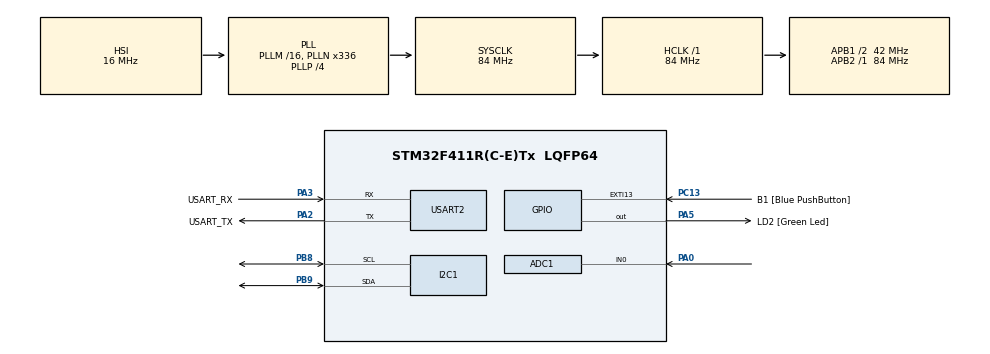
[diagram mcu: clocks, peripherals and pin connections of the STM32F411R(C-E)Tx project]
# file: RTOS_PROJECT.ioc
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ADC1.Channel-0\#ChannelRegularConversion=ADC_CHANNEL_0
ADC1.DMAContinuousRequests=ENABLE
ADC1.ExternalTrigConv=ADC_EXTERNALTRIGCONV_T2_TRGO
ADC1.NbrOfConversionFlag=1
ADC1.Rank-0\#ChannelRegularConversion=1
ADC1.SamplingTime-0\#ChannelRegularConversion=ADC_SAMPLETIME_3CYCLES
ADC1.master=1
Dma.ADC1.0.Direction=DMA_PERIPH_TO_MEMORY
Dma.ADC1.0.FIFOMode=DMA_FIFOMODE_DISABLE
Dma.ADC1.0.Instance=DMA2_Stream0
Dma.ADC1.0.MemDataAlignment=DMA_MDATAALIGN_HALFWORD
Dma.ADC1.0.MemInc=DMA_MINC_ENABLE
Dma.ADC1.0.Mode=DMA_CIRCULAR
Dma.ADC1.0.PeriphDataAlignment=DMA_PDATAALIGN_HALFWORD
Dma.ADC1.0.PeriphInc=DMA_PINC_DISABLE
Dma.ADC1.0.Priority=DMA_PRIORITY_LOW
Dma.Request0=ADC1
FREERTOS.BinarySemaphores01=SemaphoreBmpQueue,Dynamic,NULL,Available
FREERTOS.Mutexes01=MutexPrintf,Dynamic,NULL,Available;MutexI2C,Dynamic,NULL,Available;MutexBmpData,Dynamic,NULL,Available
FREERTOS.Queues01=QueueBmpData,8,BmpData_t,0,Dynamic,NULL,NULL;QueueFftData,8,FftData_t,0,Dynamic,NULL,NULL
FREERTOS.Tasks01=HeartbeatTask,24,128,StartHeartbeatTask,Default,NULL,Dynamic,NULL,NULL;BMP280Task,32,256,StartBMP280Task,Default,NULL,Dynamic,NULL,NULL;OledTask,16,256,StartOledTask,Default,NULL,Dynamic,NULL,NULL;FFTTask,40,128,StartFFTTaskTask,Default,NULL,Dynamic,NULL,NULL
FREERTOS.Timers01=TimerBmpData,TimerBmpDataCallback,osTimerPeriodic,Default,NULL,Dynamic,NULL
FREERTOS.configTOTAL_HEAP_SIZE=32000
I2C1.I2C_Mode=I2C_Fast
Mcu.Family=STM32F4
Mcu.Name=STM32F411R(C-E)Tx
Mcu.Package=LQFP64
NVIC.ADC_IRQn=true\:5\:0\:false\:false\:true\:true\:true\:true\:true
NVIC.DMA2_Stream0_IRQn=true\:5\:0\:false\:false\:true\:true\:false\:true\:true
NVIC.PriorityGroup=NVIC_PRIORITYGROUP_4
NVIC.TIM1_UP_TIM10_IRQn=true\:15\:0\:false\:false\:true\:false\:false\:true\:true
NVIC.TimeBase=TIM1_UP_TIM10_IRQn
NVIC.TimeBaseIP=TIM10
PA0-WKUP.Signal=ADCx_IN0
PA13.GPIO_Label=TMS
PA13.Mode=Serial_Wire
PA13.Signal=SYS_JTMS-SWDIO
PA14.GPIO_Label=TCK
PA14.Mode=Serial_Wire
PA14.Signal=SYS_JTCK-SWCLK
PA2.GPIO_Label=USART_TX
PA2.Mode=Asynchronous
PA2.Signal=USART2_TX
PA3.GPIO_Label=USART_RX
PA3.Mode=Asynchronous
PA3.Signal=USART2_RX
PA5.GPIO_Label=LD2 [Green Led]
PA5.Signal=GPIO_Output
PB3.GPIO_Label=SWO
PB3.Signal=SYS_JTDO-SWO
PB8.Mode=I2C
PB8.Signal=I2C1_SCL
PB9.Mode=I2C
PB9.Signal=I2C1_SDA
PC13-ANTI_TAMP.GPIO_Label=B1 [Blue PushButton]
PC13-ANTI_TAMP.GPIO_ModeDefaultEXTI=GPIO_MODE_IT_FALLING
PC13-ANTI_TAMP.Signal=GPXTI13
PC14-OSC32_IN.Mode=LSE-External-Oscillator
PC14-OSC32_IN.Signal=RCC_OSC32_IN
PC15-OSC32_OUT.Mode=LSE-External-Oscillator
PC15-OSC32_OUT.Signal=RCC_OSC32_OUT
PH0\ -\ OSC_IN.Mode=HSE-External-Clock-Source
PH0\ -\ OSC_IN.Signal=RCC_OSC_IN
PH1\ -\ OSC_OUT.Mode=HSE-External-Clock-Source
PH1\ -\ OSC_OUT.Signal=RCC_OSC_OUT
ProjectManager.HeapSize=0x200
ProjectManager.StackSize=0x400
ProjectManager.TargetToolchain=STM32CubeIDE
RCC.48MHZClocksFreq_Value=84000000
RCC.AHBFreq_Value=84000000
RCC.APB1CLKDivider=RCC_HCLK_DIV2
RCC.APB1Freq_Value=42000000
RCC.APB1TimFreq_Value=84000000
RCC.APB2Freq_Value=84000000
RCC.APB2TimFreq_Value=84000000
RCC.CortexFreq_Value=84000000
RCC.FLatency-AdvancedSettings=FLASH_LATENCY_2
RCC.HCLKFreq_Value=84000000
RCC.HSE_VALUE=8000000
RCC.HSI_VALUE=16000000
RCC.PLLN=336
RCC.PLLP=RCC_PLLP_DIV4
RCC.SYSCLKFreq_VALUE=84000000
RCC.SYSCLKSource=RCC_SYSCLKSOURCE_PLLCLK
RCC.VCOOutputFreq_Value=336000000
SH.ADCx_IN0.0=ADC1_IN0,IN0
TIM2.Period=634
TIM2.Prescaler=2
TIM2.TIM_MasterOutputTrigger=TIM_TRGO_UPDATE
USART2.VirtualMode=VM_ASYNC
VP_FREERTOS_VS_CMSIS_V2.Mode=CMSIS_V2
VP_SYS_VS_tim10.Mode=TIM10
VP_TIM2_VS_ClockSourceINT.Mode=Internal
board=NUCLEO-F411RE

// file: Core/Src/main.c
/* USER CODE BEGIN Header */
/**
  ******************************************************************************
  * @file           : main.c
  * @brief          : Main program body
  ******************************************************************************
  * @attention
  *
  * Copyright (c) 2025 STMicroelectronics.
  * All rights reserved.
  *
  * This software is licensed under terms that can be found in the LICENSE file
  * in the root directory of this software component.
  * If no LICENSE file comes with this software, it is provided AS-IS.
  *
  ******************************************************************************
  */
/* USER CODE END Header */
#include "main.h"
#include "cmsis_os.h"
#include "adc.h"
#include "dma.h"
#include "i2c.h"
#include "tim.h"
#include "usart.h"
#include "gpio.h"

void SystemClock_Config(void);
void MX_FREERTOS_Init(void);

int main(void)
{

  /* MCU Configuration--------------------------------------------------------*/

  /* Reset of all peripherals, Initializes the Flash interface and the Systick. */
  HAL_Init();

  /* Configure the system clock */
  SystemClock_Config();

  /* Initialize all configured peripherals */
  MX_GPIO_Init();
  MX_DMA_Init();
  MX_USART2_UART_Init();
  MX_I2C1_Init();
  MX_ADC1_Init();
  MX_TIM2_Init();

  /* Init scheduler */
  osKernelInitialize();  /* Call init function for freertos objects (in cmsis_os2.c) */
  MX_FREERTOS_Init();

  /* Start scheduler */
  osKernelStart();

  /* We should never get here as control is now taken by the scheduler */

  /* Infinite loop */
  while (1)
  {

  }
}

void SystemClock_Config(void)
{
  RCC_OscInitTypeDef RCC_OscInitStruct = {0};
  RCC_ClkInitTypeDef RCC_ClkInitStruct = {0};

  /** Configure the main internal regulator output voltage
  */
  __HAL_RCC_PWR_CLK_ENABLE();
  __HAL_PWR_VOLTAGESCALING_CONFIG(PWR_REGULATOR_VOLTAGE_SCALE1);

  /** Initializes the RCC Oscillators according to the specified parameters
  * in the RCC_OscInitTypeDef structure.
  */
  RCC_OscInitStruct.OscillatorType = RCC_OSCILLATORTYPE_HSI;
  RCC_OscInitStruct.HSIState = RCC_HSI_ON;
  RCC_OscInitStruct.HSICalibrationValue = RCC_HSICALIBRATION_DEFAULT;
  RCC_OscInitStruct.PLL.PLLState = RCC_PLL_ON;
  RCC_OscInitStruct.PLL.PLLSource = RCC_PLLSOURCE_HSI;
  RCC_OscInitStruct.PLL.PLLM = 16;
  RCC_OscInitStruct.PLL.PLLN = 336;
  RCC_OscInitStruct.PLL.PLLP = RCC_PLLP_DIV4;
  RCC_OscInitStruct.PLL.PLLQ = 4;
  if (HAL_RCC_OscConfig(&RCC_OscInitStruct) != HAL_OK)
  {
    Error_Handler();
  }

  /** Initializes the CPU, AHB and APB buses clocks
  */
  RCC_ClkInitStruct.ClockType = RCC_CLOCKTYPE_HCLK|RCC_CLOCKTYPE_SYSCLK
                              |RCC_CLOCKTYPE_PCLK1|RCC_CLOCKTYPE_PCLK2;
  RCC_ClkInitStruct.SYSCLKSource = RCC_SYSCLKSOURCE_PLLCLK;
  RCC_ClkInitStruct.AHBCLKDivider = RCC_SYSCLK_DIV1;
  RCC_ClkInitStruct.APB1CLKDivider = RCC_HCLK_DIV2;
  RCC_ClkInitStruct.APB2CLKDivider = RCC_HCLK_DIV1;

  if (HAL_RCC_ClockConfig(&RCC_ClkInitStruct, FLASH_LATENCY_2) != HAL_OK)
  {
    Error_Handler();
  }
}

void HAL_TIM_PeriodElapsedCallback(TIM_HandleTypeDef *htim)
{
  if (htim->Instance == TIM10)
  {
    HAL_IncTick();
  }
}

void Error_Handler(void)
{
  __disable_irq();
  while (1)
  {
  }
}

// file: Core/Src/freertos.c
/* USER CODE BEGIN Header */
/**
  ******************************************************************************
  * File Name          : freertos.c
  * Description        : Code for freertos applications
  ******************************************************************************
  * @attention
  *
  * Copyright (c) 2025 STMicroelectronics.
  * All rights reserved.
  *
  * This software is licensed under terms that can be found in the LICENSE file
  * in the root directory of this software component.
  * If no LICENSE file comes with this software, it is provided AS-IS.
  *
  ******************************************************************************
  */
/* USER CODE END Header */

#include "FreeRTOS.h"
#include "task.h"
#include "main.h"
#include "cmsis_os.h"

/* USER CODE BEGIN Includes */
#include "i2c.h"
#include "usart.h"
#include "bmp280.h"
#include "printf.h"
#include "SSD1306_OLED.h"
#include "GFX_BW.h"
#include "fonts/fonts.h"
#include "arm_math.h"
#include "tim.h"
#include "adc.h"
/* USER CODE END Includes */

/* USER CODE BEGIN PD */
#define FFT_SAMPLES 1024
/* USER CODE END PD */

/* USER CODE BEGIN Variables */
typedef struct
{
	float Temperature;
	float Pressure;
}BmpData_t;

typedef struct
{
	uint8_t OutFreqArray[10];
}FftData_t;

/* USER CODE END Variables */
/* Definitions for HeartbeatTask */
osThreadId_t HeartbeatTaskHandle;
const osThreadAttr_t HeartbeatTask_attributes = {
  .name = "HeartbeatTask",
  .stack_size = 128 * 4,
  .priority = (osPriority_t) osPriorityNormal,
};
/* Definitions for BMP280Task */
osThreadId_t BMP280TaskHandle;
const osThreadAttr_t BMP280Task_attributes = {
  .name = "BMP280Task",
  .stack_size = 256 * 4,
  .priority = (osPriority_t) osPriorityAboveNormal,
};
/* Definitions for OledTask */
osThreadId_t OledTaskHandle;
const osThreadAttr_t OledTask_attributes = {
  .name = "OledTask",
  .stack_size = 256 * 4,
  .priority = (osPriority_t) osPriorityBelowNormal,
};
/* Definitions for FFTTask */
osThreadId_t FFTTaskHandle;
const osThreadAttr_t FFTTask_attributes = {
  .name = "FFTTask",
  .stack_size = 128 * 4,
  .priority = (osPriority_t) osPriorityHigh,
};
/* Definitions for QueueBmpData */
osMessageQueueId_t QueueBmpDataHandle;
const osMessageQueueAttr_t QueueBmpData_attributes = {
  .name = "QueueBmpData"
};
/* Definitions for QueueFftData */
osMessageQueueId_t QueueFftDataHandle;
const osMessageQueueAttr_t QueueFftData_attributes = {
  .name = "QueueFftData"
};
/* Definitions for TimerBmpData */
osTimerId_t TimerBmpDataHandle;
const osTimerAttr_t TimerBmpData_attributes = {
  .name = "TimerBmpData"
};
/* Definitions for MutexPrintf */
osMutexId_t MutexPrintfHandle;
const osMutexAttr_t MutexPrintf_attributes = {
  .name = "MutexPrintf"
};
/* Definitions for MutexI2C */
osMutexId_t MutexI2CHandle;
const osMutexAttr_t MutexI2C_attributes = {
  .name = "MutexI2C"
};
/* Definitions for MutexBmpData */
osMutexId_t MutexBmpDataHandle;
const osMutexAttr_t MutexBmpData_attributes = {
  .name = "MutexBmpData"
};
/* Definitions for SemaphoreBmpQueue */
osSemaphoreId_t SemaphoreBmpQueueHandle;
const osSemaphoreAttr_t SemaphoreBmpQueue_attributes = {
  .name = "SemaphoreBmpQueue"
};

/* USER CODE BEGIN FunctionPrototypes */
float complexABS(float real, float imag)
{
	return sqrtf(real*real + imag*imag);
}
/* USER CODE END FunctionPrototypes */

void StartHeartbeatTask(void *argument);
void StartBMP280Task(void *argument);
void StartOledTask(void *argument);
void StartFFTTaskTask(void *argument);
void TimerBmpDataCallback(void *argument);

void MX_FREERTOS_Init(void); /* (MISRA C 2004 rule 8.1) */

void MX_FREERTOS_Init(void) {
  /* Create the mutex(es) */
  /* creation of MutexPrintf */
  MutexPrintfHandle = osMutexNew(&MutexPrintf_attributes);

  /* creation of MutexI2C */
  MutexI2CHandle = osMutexNew(&MutexI2C_attributes);

  /* creation of MutexBmpData */
  MutexBmpDataHandle = osMutexNew(&MutexBmpData_attributes);

  /* Create the semaphores(s) */
  /* creation of SemaphoreBmpQueue */
  SemaphoreBmpQueueHandle = osSemaphoreNew(1, 1, &SemaphoreBmpQueue_attributes);

  /* Create the timer(s) */
  /* creation of TimerBmpData */
  TimerBmpDataHandle = osTimerNew(TimerBmpDataCallback, osTimerPeriodic, NULL, &TimerBmpData_attributes);

  /* Create the queue(s) */
  /* creation of QueueBmpData */
  QueueBmpDataHandle = osMessageQueueNew (8, sizeof(BmpData_t), &QueueBmpData_attributes);

  /* creation of QueueFftData */
  QueueFftDataHandle = osMessageQueueNew (8, sizeof(FftData_t), &QueueFftData_attributes);

  /* Create the thread(s) */
  /* creation of HeartbeatTask */
  HeartbeatTaskHandle = osThreadNew(StartHeartbeatTask, NULL, &HeartbeatTask_attributes);

  /* creation of BMP280Task */
  BMP280TaskHandle = osThreadNew(StartBMP280Task, NULL, &BMP280Task_attributes);

  /* creation of OledTask */
  OledTaskHandle = osThreadNew(StartOledTask, NULL, &OledTask_attributes);

  /* creation of FFTTask */
  FFTTaskHandle = osThreadNew(StartFFTTaskTask, NULL, &FFTTask_attributes);

}

void StartHeartbeatTask(void *argument)
{
  /* USER CODE BEGIN StartHeartbeatTask */
  /* Infinite loop */
  for(;;)
  {
	  HAL_GPIO_TogglePin(LD2_GPIO_Port, LD2_Pin);
	  osDelay(500);
  }
  /* USER CODE END StartHeartbeatTask */
}

void StartBMP280Task(void *argument)
{
  /* USER CODE BEGIN StartBMP280Task */

	BMP280_t Bmp280;
	BmpData_t _BmpData;

	uint32_t DelayTick = osKernelGetTickCount();

	osMutexAcquire(MutexI2CHandle, osWaitForever);
	BMP280_Init(&Bmp280, &hi2c1, BMP280_I2C_ADDR);
	osMutexRelease(MutexI2CHandle);

	osTimerStart(TimerBmpDataHandle, 100);
  /* Infinite loop */
	for(;;)
	{
		osMutexAcquire(MutexI2CHandle, osWaitForever);
		BMP280_ReadTemperatureAndPressure(&Bmp280, &_BmpData.Temperature, &_BmpData.Pressure);
//		_BmpData.Temperature = BMP280_ReadTemperature(&Bmp280);
		osMutexRelease(MutexI2CHandle);

		if(osOK == osSemaphoreAcquire(SemaphoreBmpQueueHandle, 0))
		{
			osMessageQueuePut(QueueBmpDataHandle, &_BmpData, 0, osWaitForever);
		}

		printf("Temperature: %.2f, Pressure %.2f\n\r", _BmpData.Temperature, _BmpData.Pressure);

//		osMutexAcquire(MutexBmpDataHandle, osWaitForever);
//		BmpData.Temperature = _Temperature;
//		BmpData.Pressure = _Pressure;
//		osMutexRelease(MutexBmpDataHandle);

		DelayTick += 10;
		osDelayUntil(DelayTick);

  }
  /* USER CODE END StartBMP280Task */
}

void StartOledTask(void *argument)
{
  /* USER CODE BEGIN StartOledTask */
	uint8_t Message[32];
	uint8_t counter = 0;

	BmpData_t _BmpData;
	FftData_t _FftData;

	osMutexAcquire(MutexI2CHandle, osWaitForever);
	SSD1306_Init(&hi2c1);
	osMutexRelease(MutexI2CHandle);

	GFX_SetFont(font_8x5);

	SSD1306_Clear(BLACK);

	SSD1306_Display();

  /* Infinite loop */
  for(;;)
  {
	  	SSD1306_Clear(BLACK);
		sprintf((char*) Message, "Weather parameter:%d", counter++);
		GFX_DrawString(0, 0, (char*) Message, WHITE, BLACK);

//		osMutexAcquire(MutexBmpDataHandle, osWaitForever);
//		_Temperature = BmpData.Temperature;
//		_Pressure = BmpData.Pressure;
//		osMutexRelease(MutexBmpDataHandle);
		osMessageQueueGet(QueueBmpDataHandle, &_BmpData, 0, 0);
		osMessageQueueGet(QueueFftDataHandle, &_FftData, 0, 0);

		sprintf((char*) Message, "Temp: %.2f", _BmpData.Temperature);
		GFX_DrawString(0, 10, (char*) Message, WHITE, BLACK);

		sprintf((char*) Message, "Pres: %.2f", _BmpData.Pressure);
		GFX_DrawString(0, 20, (char*) Message, WHITE, BLACK);

		for (uint8_t i = 0; i < 10; i++)
		{
			GFX_DrawFillRectangle(10 +(i*11), 64 - _FftData.OutFreqArray[i] , 10, _FftData.OutFreqArray[i], WHITE);
		}

		SSD1306_Display();

		//osDelay(100);
  }
  /* USER CODE END StartOledTask */
}

void StartFFTTaskTask(void *argument)
{
  /* USER CODE BEGIN StartFFTTaskTask */
	arm_rfft_fast_instance_f32 FFTHandler;
	FftData_t FftData;
	int FreqPoint;
	int Offset = 45;

	//
	// Initialize FFT
	//

	uint16_t *AdcMicrophoneBuffer;
	float *FFTInBuffer;
	float *FFTOutBuffer;
	int *Freqs;

	AdcMicrophoneBuffer = pvPortMalloc(FFT_SAMPLES * sizeof(uint16_t));
	FFTInBuffer = pvPortMalloc(FFT_SAMPLES * sizeof(float));
	FFTOutBuffer = pvPortMalloc(FFT_SAMPLES * sizeof(float));
	Freqs = pvPortMalloc((FFT_SAMPLES) * sizeof(int));

	HAL_TIM_Base_Start(&htim2);
	HAL_ADC_Start_DMA(&hadc1, (uint32_t*)AdcMicrophoneBuffer, FFT_SAMPLES);

	arm_rfft_fast_init_f32(&FFTHandler, FFT_SAMPLES);

  /* Infinite loop */
  for(;;)
  {
	  osThreadFlagsWait(0x0001, osFlagsWaitAll, osWaitForever);

	  for (uint32_t i = 0; i < FFT_SAMPLES; i++)
	  {
		  FFTInBuffer[i] = (float)AdcMicrophoneBuffer[i];
	  }

	  arm_rfft_fast_f32(&FFTHandler, FFTInBuffer, FFTOutBuffer, 0);

	  FreqPoint = 0;

	  for (int i = 1; i < FFT_SAMPLES; i = i+2)
	  {
		  Freqs[FreqPoint] = (int)(20*log10f(complexABS(FFTOutBuffer[i], FFTOutBuffer[i+1]))) - Offset;

		  if (Freqs[FreqPoint] < 0)
		  {
			  Freqs[FreqPoint] = 0;
		  }
		  FreqPoint++;
	  }

	  FftData.OutFreqArray[0] = (uint8_t)Freqs[1];
	  FftData.OutFreqArray[1] = (uint8_t)Freqs[2];
	  FftData.OutFreqArray[2] = (uint8_t)Freqs[3];
	  FftData.OutFreqArray[3] = (uint8_t)Freqs[6];
	  FftData.OutFreqArray[4] = (uint8_t)Freqs[12];
	  FftData.OutFreqArray[5] = (uint8_t)Freqs[23];
	  FftData.OutFreqArray[6] = (uint8_t)Freqs[51];
	  FftData.OutFreqArray[7] = (uint8_t)Freqs[104];
	  FftData.OutFreqArray[8] = (uint8_t)Freqs[207];
	  FftData.OutFreqArray[9] = (uint8_t)Freqs[334];

	  osMessageQueuePut(QueueFftDataHandle, &FftData, 0, osWaitForever);
  	 }
  /* USER CODE END StartFFTTaskTask */
}

/* TimerBmpDataCallback function */
void TimerBmpDataCallback(void *argument)
{
  /* USER CODE BEGIN TimerBmpDataCallback */
	osSemaphoreRelease(SemaphoreBmpQueueHandle);
  /* USER CODE END TimerBmpDataCallback */
}

/* USER CODE BEGIN Application */
void HAL_ADC_ConvCpltCallback(ADC_HandleTypeDef *hadc)
{
	if(hadc->Instance == ADC1)
	{
		osThreadFlagsSet(FFTTaskHandle, 0x0001);
	}

}

void _putchar(char Character)
{
	osMutexAcquire(MutexPrintfHandle, osWaitForever);
	HAL_UART_Transmit(&huart2, (uint8_t*)&Character, 1, 1000);
	osMutexRelease(MutexPrintfHandle);
}
/* USER CODE END Application */
